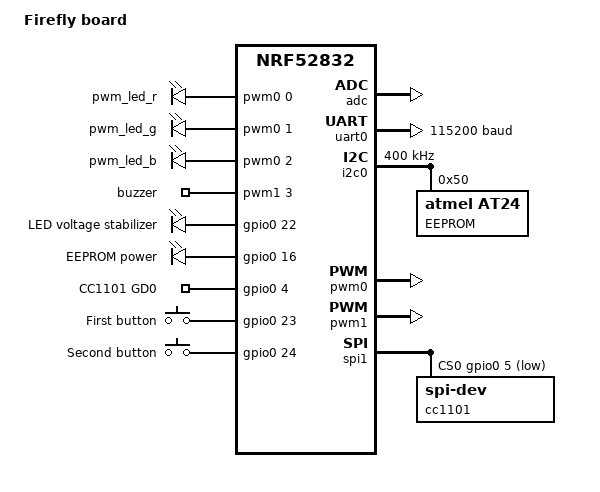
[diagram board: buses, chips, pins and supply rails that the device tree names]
/dts-v1/;
#include <nordic/nrf52832_qfaa.dtsi>
#include "board-pinctrl.dtsi"

/ {
	// See hardware info, spec and blueprints here https://github.com/Kreyl/firefly_hw
	// Specifically, https://github.com/Kreyl/Firefly_hw/blob/master/PCB/Gerber/FireFly_SCH.pdf
	model = "Firefly board";

	chosen {
		zephyr,console = &uart0;
		zephyr,shell-uart = &uart0;
		zephyr,uart-mcumgr = &uart0;
		zephyr,bt-mon-uart = &uart0;
		zephyr,bt-c2h-uart = &uart0;
		zephyr,sram = &sram0;
		zephyr,flash = &flash0;
	};

	pwmleds {
		// Need power on 22 for being bright
		compatible = "pwm-leds";
		pwm_led_r: pwm_led_r {
			pwms = <&pwm0 0 PWM_MSEC(20) PWM_POLARITY_INVERTED>;
		};

		pwm_led_g: pwm_led_g {
			pwms = <&pwm0 1 PWM_MSEC(20) PWM_POLARITY_INVERTED>;
		};

		pwm_led_b: pwm_led_b {
			pwms = <&pwm0 2 PWM_MSEC(20) PWM_POLARITY_INVERTED>;
		};
	};

	pwmbuzzer {
		compatible = "pwm-leds";
		buzzer: buzzer {
			pwms = <&pwm1 3 PWM_MSEC(20) PWM_POLARITY_INVERTED>;
		};
	};

	leds {
		compatible = "gpio-leds";
		led_en: led_en {
			gpios = <&gpio0 22 GPIO_ACTIVE_HIGH>;
			label = "LED voltage stabilizer";
		};

		eeprom_en: eeprom_en {
			gpios = <&gpio0 16 GPIO_ACTIVE_HIGH>;
			label = "EEPROM power";
		};
	};

	buttons {
		compatible = "gpio-keys";
		gdo0: gdo0 {
			gpios = <&gpio0 4 (GPIO_PULL_DOWN)>;
			label = "CC1101 GD0";
		};

		button_1: button_1 {
			gpios = <&gpio0 23 (GPIO_PULL_DOWN)>;
			label = "First button";
		};

		button_2: button_2 {
			gpios = <&gpio0 24 (GPIO_PULL_DOWN)>;
			label = "Second button";
		};
	};

	aliases {
		cc1101-spi = &spi1;
		cc1101 = &cc1101;
		cc1101-gdo0 = &gdo0;

		led-r = &pwm_led_r;
		led-g = &pwm_led_g;
		led-b = &pwm_led_b;
		led-en = &led_en;

		buzzer = &buzzer;

		eeprom = &eeprom;
		eeprom-en = &eeprom_en;
	};
};

&adc {
	status = "okay";
};

&gpiote {
	status = "okay";
};

&gpio0 {
	status = "okay";
};

&uart0 {
	status = "okay";
	compatible = "nordic,nrf-uart";
	current-speed = <115200>;
	pinctrl-0 = <&uart0_default>;
	pinctrl-names = "default";
};

// EEPROM
// Needs power on 16
&i2c0 {
	compatible = "nordic,nrf-twi";
	status = "okay";
	pinctrl-0 = <&i2c0_default>;
	pinctrl-names = "default";
	clock-frequency = <I2C_BITRATE_FAST>;

	// Datasheet: https://www.terraelectronica.ru/pdf/show?pdf_file=%252Fds%252Fpdf%252FM%252Fm24256-bw.pdf
	eeprom: eeprom@50 {
		compatible = "atmel,at24";
		// 1010 (type identifier code) 000 (A0-A2 pins are connected to the ground)
		reg = <0x50>;
		label = "EEPROM";
		size = <DT_SIZE_K(32)>;
		pagesize = <64>;
		address-width = <8>;
		timeout = <5>;
	};
};

// Pill
&i2c1 {
	compatible = "nordic,nrf-twi";
	status = "disabled";
	pinctrl-0 = <&i2c1_default>;
	pinctrl-names = "default";
	// Needs power on 11
};

// LEDs
&pwm0 {
	status = "okay";
	pinctrl-0 = <&pwm0_default>;
	pinctrl-names = "default";	
};

// Buzzer
&pwm1 {
	status = "okay";
	pinctrl-0 = <&pwm1_default>;
	pinctrl-names = "default";	
};

// CC1101
&spi1 {
	compatible = "nordic,nrf-spi";
	status = "okay";
	pinctrl-0 = <&spi1_default>;
	pinctrl-names = "default";
	cs-gpios = <&gpio0 5 GPIO_ACTIVE_LOW>;
	cc1101: spi-dev@0 {
		reg = <0>;
	};
};

&flash0 {
	/*
	 * For more information, see:
	 * http://docs.zephyrproject.org/latest/guides/dts/index.html#flash-partitions
	 */
	partitions {
		compatible = "fixed-partitions";
		#address-cells = <1>;
		#size-cells = <1>;

		boot_partition: partition@0 {
			label = "mcuboot";
			reg = <0x00000000 0xc000>;
		};
		slot0_partition: partition@c000 {
			label = "image-0";
			reg = <0x0000C000 0x32000>;
		};
		slot1_partition: partition@3e000 {
			label = "image-1";
			reg = <0x0003E000 0x32000>;
		};
		scratch_partition: partition@70000 {
			label = "image-scratch";
			reg = <0x00070000 0xa000>;
		};
		storage_partition: partition@7a000 {
			label = "storage";
			reg = <0x0007a000 0x00006000>;
		};
	};
};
